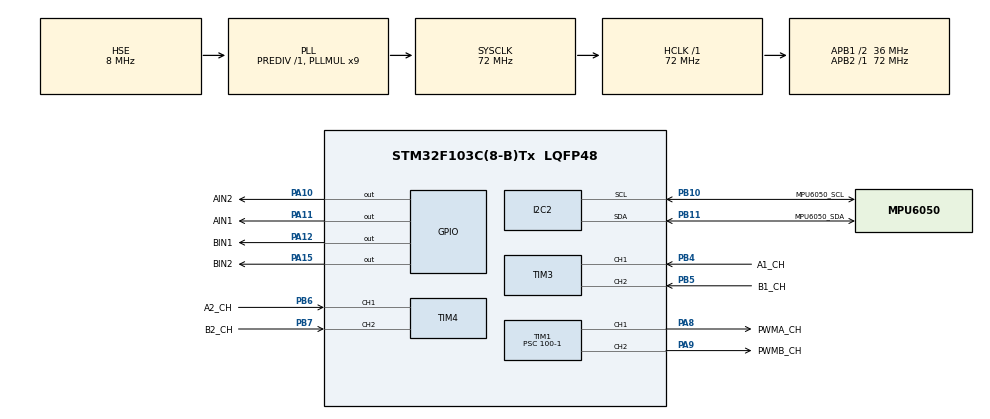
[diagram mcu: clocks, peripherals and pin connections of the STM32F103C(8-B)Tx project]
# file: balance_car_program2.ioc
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Dma.I2C2_RX.0.Direction=DMA_PERIPH_TO_MEMORY
Dma.I2C2_RX.0.Instance=DMA1_Channel5
Dma.I2C2_RX.0.MemDataAlignment=DMA_MDATAALIGN_BYTE
Dma.I2C2_RX.0.MemInc=DMA_MINC_ENABLE
Dma.I2C2_RX.0.Mode=DMA_NORMAL
Dma.I2C2_RX.0.PeriphDataAlignment=DMA_PDATAALIGN_BYTE
Dma.I2C2_RX.0.PeriphInc=DMA_PINC_DISABLE
Dma.I2C2_RX.0.Priority=DMA_PRIORITY_LOW
Dma.Request0=I2C2_RX
I2C2.I2C_Mode=I2C_Fast
Mcu.Family=STM32F1
Mcu.Name=STM32F103C(8-B)Tx
Mcu.Package=LQFP48
NVIC.DMA1_Channel5_IRQn=true\:0\:0\:false\:false\:true\:false\:true\:true
NVIC.I2C2_EV_IRQn=true\:0\:0\:false\:false\:true\:true\:true\:true
NVIC.PriorityGroup=NVIC_PRIORITYGROUP_4
NVIC.TIM2_IRQn=true\:0\:0\:false\:false\:true\:true\:true\:true
PA10.GPIO_Label=AIN2
PA10.Signal=GPIO_Output
PA11.GPIO_Label=AIN1
PA11.Signal=GPIO_Output
PA12.GPIO_Label=BIN1
PA12.Signal=GPIO_Output
PA13.Mode=Serial_Wire
PA13.Signal=SYS_JTMS-SWDIO
PA14.Mode=Serial_Wire
PA14.Signal=SYS_JTCK-SWCLK
PA15.GPIO_Label=BIN2
PA15.Signal=GPIO_Output
PA8.GPIO_Label=PWMA_CH
PA8.Signal=S_TIM1_CH1
PA9.GPIO_Label=PWMB_CH
PA9.Signal=S_TIM1_CH2
PB10.GPIO_Label=MPU6050_SCL
PB10.Mode=I2C
PB10.Signal=I2C2_SCL
PB11.GPIO_Label=MPU6050_SDA
PB11.Mode=I2C
PB11.Signal=I2C2_SDA
PB4.GPIO_Label=A1_CH
PB4.Signal=S_TIM3_CH1
PB5.GPIO_Label=B1_CH
PB5.Signal=S_TIM3_CH2
PB6.GPIO_Label=A2_CH
PB6.Signal=S_TIM4_CH1
PB7.GPIO_Label=B2_CH
PB7.Signal=S_TIM4_CH2
PD0-OSC_IN.Mode=HSE-External-Oscillator
PD0-OSC_IN.Signal=RCC_OSC_IN
PD1-OSC_OUT.Mode=HSE-External-Oscillator
PD1-OSC_OUT.Signal=RCC_OSC_OUT
ProjectManager.HeapSize=0x200
ProjectManager.StackSize=0x400
ProjectManager.TargetToolchain=CMake
RCC.AHBFreq_Value=72000000
RCC.APB1CLKDivider=RCC_HCLK_DIV2
RCC.APB1Freq_Value=36000000
RCC.APB1TimFreq_Value=72000000
RCC.APB2Freq_Value=72000000
RCC.APB2TimFreq_Value=72000000
RCC.HCLKFreq_Value=72000000
RCC.PLLMUL=RCC_PLL_MUL9
RCC.PLLSourceVirtual=RCC_PLLSOURCE_HSE
RCC.SYSCLKFreq_VALUE=72000000
RCC.SYSCLKSource=RCC_SYSCLKSOURCE_PLLCLK
RCC.USBFreq_Value=72000000
SH.S_TIM1_CH1.0=TIM1_CH1,PWM Generation1 CH1
SH.S_TIM1_CH2.0=TIM1_CH2,PWM Generation2 CH2
SH.S_TIM3_CH1.0=TIM3_CH1,Encoder_Interface
SH.S_TIM3_CH2.0=TIM3_CH2,Encoder_Interface
SH.S_TIM4_CH1.0=TIM4_CH1,Encoder_Interface
SH.S_TIM4_CH2.0=TIM4_CH2,Encoder_Interface
TIM1.Channel-PWM\ Generation1\ CH1=TIM_CHANNEL_1
TIM1.Channel-PWM\ Generation2\ CH2=TIM_CHANNEL_2
TIM1.Period=36-1
TIM1.Prescaler=100-1
TIM2.Period=999
TIM2.Prescaler=71
VP_TIM2_VS_ClockSourceINT.Mode=Internal
board=custom

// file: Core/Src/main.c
/* USER CODE BEGIN Header */
/**
  ******************************************************************************
  * @file           : main.c
  * @brief          : Main program body
  ******************************************************************************
  * @attention
  *
  * Copyright (c) 2026 STMicroelectronics.
  * All rights reserved.
  *
  * This software is licensed under terms that can be found in the LICENSE file
  * in the root directory of this software component.
  * If no LICENSE file comes with this software, it is provided AS-IS.
  *
  ******************************************************************************
  */
/* USER CODE END Header */
#include "main.h"
#include "dma.h"
#include "i2c.h"
#include "tim.h"
#include "gpio.h"

/* USER CODE BEGIN Includes */
#include "motor.h"
#include "oled.h"
#include "MPU6050.h"
#include "it_flag.h"
#include "angle.h"

/* USER CODE END Includes */

/* USER CODE BEGIN PV */
extern gyro_accel_ori_val_st g_a_ori_val;

/* USER CODE END PV */

void SystemClock_Config(void);

int main(void)
{

  /* MCU Configuration--------------------------------------------------------*/

  /* Reset of all peripherals, Initializes the Flash interface and the Systick. */
  HAL_Init();

  /* USER CODE BEGIN Init */
    CoreDebug->DEMCR |= CoreDebug_DEMCR_TRCENA_Msk;
    DWT->CYCCNT = 0;
    DWT->CTRL |= DWT_CTRL_CYCCNTENA_Msk;

  /* USER CODE END Init */

  /* Configure the system clock */
  SystemClock_Config();

  /* Initialize all configured peripherals */
  MX_GPIO_Init();
  MX_DMA_Init();
  MX_I2C2_Init();
  MX_TIM1_Init();
  MX_TIM3_Init();
  MX_TIM4_Init();
  MX_TIM2_Init();
  /* USER CODE BEGIN 2 */
  //初始化OLED
  OLED_Init();
  //初始化MPU6050
  MPU6050_Init();
  //陀螺仪零漂校准
  Angle_GyroY_Calibration();
  //启动I2C2 接收的DMA，开始接收MPU6050数据
  MPU6050_StartRxDMA();
  //初始化电机
  Motor_Init();
  //开启系统中断
  HAL_TIM_Base_Start_IT(&htim2);

  /* USER CODE END 2 */

  /* Infinite loop */
  /* USER CODE BEGIN WHILE */
  while (1)
  {
      //姿态角解算与角度内环计算
      It_Angle_Calculate();

      //获取两轮速度并计算速度外环与转向环
      It_Speed_GetVal();

      //OLED展示
//      It_OLED_Show();

    /* USER CODE END WHILE */

  }
}

void SystemClock_Config(void)
{
  RCC_OscInitTypeDef RCC_OscInitStruct = {0};
  RCC_ClkInitTypeDef RCC_ClkInitStruct = {0};

  /** Initializes the RCC Oscillators according to the specified parameters
  * in the RCC_OscInitTypeDef structure.
  */
  RCC_OscInitStruct.OscillatorType = RCC_OSCILLATORTYPE_HSE;
  RCC_OscInitStruct.HSEState = RCC_HSE_ON;
  RCC_OscInitStruct.HSEPredivValue = RCC_HSE_PREDIV_DIV1;
  RCC_OscInitStruct.HSIState = RCC_HSI_ON;
  RCC_OscInitStruct.PLL.PLLState = RCC_PLL_ON;
  RCC_OscInitStruct.PLL.PLLSource = RCC_PLLSOURCE_HSE;
  RCC_OscInitStruct.PLL.PLLMUL = RCC_PLL_MUL9;
  if (HAL_RCC_OscConfig(&RCC_OscInitStruct) != HAL_OK)
  {
    Error_Handler();
  }

  /** Initializes the CPU, AHB and APB buses clocks
  */
  RCC_ClkInitStruct.ClockType = RCC_CLOCKTYPE_HCLK|RCC_CLOCKTYPE_SYSCLK
                              |RCC_CLOCKTYPE_PCLK1|RCC_CLOCKTYPE_PCLK2;
  RCC_ClkInitStruct.SYSCLKSource = RCC_SYSCLKSOURCE_PLLCLK;
  RCC_ClkInitStruct.AHBCLKDivider = RCC_SYSCLK_DIV1;
  RCC_ClkInitStruct.APB1CLKDivider = RCC_HCLK_DIV2;
  RCC_ClkInitStruct.APB2CLKDivider = RCC_HCLK_DIV1;

  if (HAL_RCC_ClockConfig(&RCC_ClkInitStruct, FLASH_LATENCY_2) != HAL_OK)
  {
    Error_Handler();
  }
}

void Error_Handler(void)
{
  __disable_irq();
  while (1)
  {
  }
}
